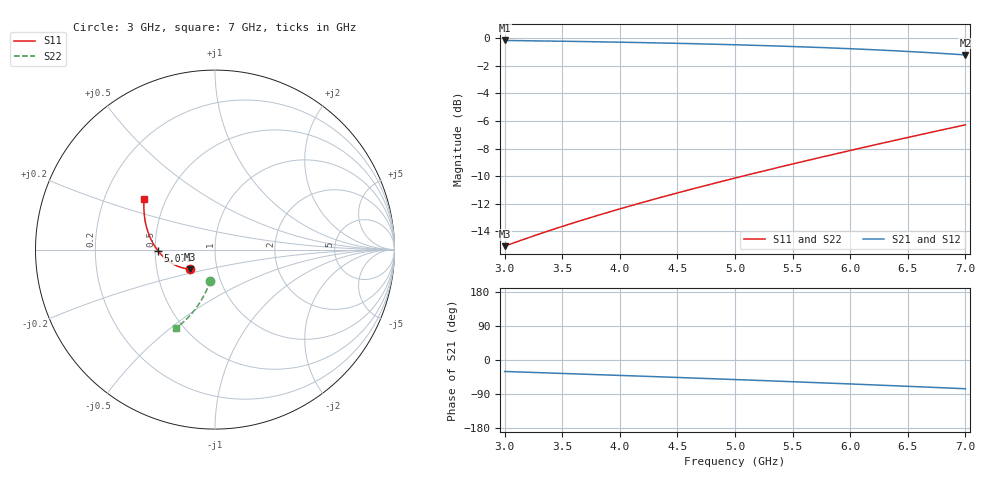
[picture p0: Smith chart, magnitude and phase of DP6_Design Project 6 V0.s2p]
! Touchstone file exported from HFSS 2023.2.0
!  File:  C:/Users/SIVA SRINIVAS/Desktop/EE-414-515-DP6/DP6.aedt
!  Generated:  1:13:20 PM  May 09, 2024
!  Design:  Design Project 6 V0
!  Project:  DP6
!  Setup:  Setup1
!  Solution:  Sweep
! Variables:
!  A = 12.7mm
!  B = 8.89mm
!  C = 12.54mm
!  LC = 10mm
!  Lm = 10mm
!  W = 1.13555mm
!  d0 = 2.032mm
!  dp1 = 7.968mm
!  ds = 2.54mm
!  h = 1.27mm
!  ri = 0.635mm
!  ro = 2.032mm
!  rp = 1.27mm
!  t = 18um
!Data is not renormalized
# GHz S MA
! Terminal data exported
! Port[1] = 1
! Port[2] = 2
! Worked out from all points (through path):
!   161 points, 3 GHz to 7 GHz, reference per port
!   highest |S21| = -0.14 dB at 3 GHz (marker M1); lowest = -1.2 dB at 7 GHz (marker M2)
!   group delay of S21, straight-line fit = 31.5 ps
!   lowest |S11| = -15.1 dB at 3 GHz (marker M3), VSWR 1.43
!   |S11| at or under -10 dB: start of sweep to 5.071 GHz
!   |S22| runs from -15.1 to -6.3 dB; largest |S21 - S12| = 2.1e-15
!   S11 on the Smith chart (normalised r, x): 3 GHz: 0.74, -0.16; 5.075 GHz: 0.52, -0.01; 7 GHz: 0.38, +0.28
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3  0.1758 -142.1  0.9836 -30.2  0.9836 -30.2  0.1756 -98.6
! Gamma 0.326878125305129 167.82394449092 0.0851387506489923 91.154792098883
! Port Impedance 49.1115496067326 0.0258028255529093 48.1224197718087 0.00428720013747007
3.35  0.1978 -148.0  0.9793 -33.8  0.9793 -33.8  0.1976 -99.9
3.675  0.2187 -153.6  0.9747 -37.2  0.9747 -37.2  0.2186 -101.1
3.85  0.2302 -156.6  0.972 -39.1  0.972 -39.1  0.2302 -101.7
4.025  0.2418 -159.7  0.9691 -40.9  0.9691 -40.9  0.2419 -102.4
4.2  0.2537 -162.7  0.966 -42.8  0.966 -42.8  0.2538 -103.0
4.35  0.264 -165.4  0.9632 -44.4  0.9632 -44.4  0.2641 -103.6
4.525  0.2763 -168.5  0.9597 -46.3  0.9597 -46.3  0.2764 -104.3
4.675  0.287 -171.2  0.9565 -47.9  0.9565 -47.9  0.2872 -104.9
4.85  0.2997 -174.4  0.9525 -49.9  0.9525 -49.9  0.3 -105.6
5  0.3109 -177.1  0.9489 -51.5  0.9489 -51.5  0.3111 -106.2
5.075  0.3165 -178.5  0.947 -52.4  0.947 -52.4  0.3168 -106.5
5.375  0.3398 175.9  0.9387 -55.8  0.9387 -55.8  0.3401 -107.8
5.675  0.3641 170.2  0.9294 -59.3  0.9294 -59.3  0.3645 -109.2
5.825  0.3766 167.4  0.9244 -61.1  0.9244 -61.1  0.377 -109.9
6  0.3916 164.0  0.918 -63.2  0.918 -63.2  0.3921 -110.7
6.175  0.407 160.6  0.9112 -65.3  0.9112 -65.3  0.4075 -111.6
6.35  0.4229 157.2  0.9039 -67.5  0.9039 -67.5  0.4234 -112.6
6.525  0.4391 153.8  0.896 -69.7  0.896 -69.7  0.4397 -113.5
6.675  0.4534 150.8  0.8888 -71.6  0.8888 -71.6  0.454 -114.4
6.85  0.4704 147.4  0.8798 -73.9  0.8798 -73.9  0.471 -115.5
7  0.4854 144.3  0.8715 -75.9  0.8715 -75.9  0.486 -116.4
